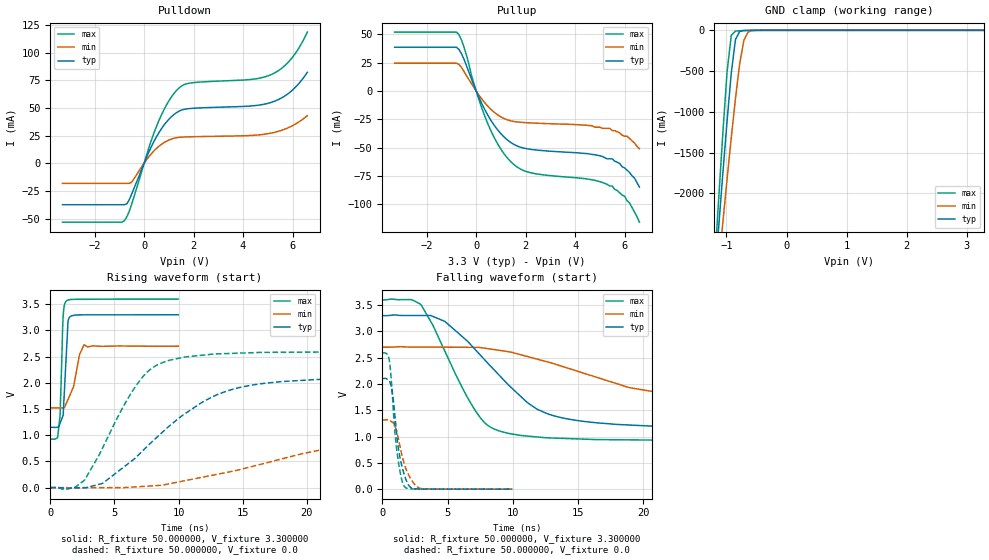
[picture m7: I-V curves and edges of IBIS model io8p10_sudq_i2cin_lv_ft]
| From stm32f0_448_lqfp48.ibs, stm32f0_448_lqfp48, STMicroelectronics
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|   Model io8p10_sudq_i2cin_lv_ft
[Model]  io8p10_sudq_i2cin_lv_ft
Model_type I/O
Polarity   Non-Inverting
Enable   Active-Low
Vinl =   0.990000V
Vinh =   2.310000V
Vmeas =  1.650000V
Cref =   50.000000pF
Rref =   100.000000M
Vref =   0.0V
C_comp   2.070000pF   1.996000pF   2.160200pF
[Temperature Range]   25.000000   0.125000k   -40.000000
[Pullup Reference]   3.300000V   2.700000V   3.600000V
[Pulldown Reference]   0.0V   0.0V   0.0V
[POWER Clamp Reference]   3.300000V   2.700000V   3.600000V
[GND Clamp Reference]   0.0V   0.0V   0.0V
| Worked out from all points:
|   slope of the pulldown table from 0 to 0.495 V, typ, clamps not added: 20.9 ohm
|   slope of the pullup table from 0 to 0.495 V, typ, clamps not added: 22.2 ohm
|   GND clamp passes 1 mA (typ) near -0.64 V on its own axis
|   rising waveform, R_fixture 50.000000, V_fixture 3.300000: 20-80 % time 274ps typ, 706ps min, 192ps max; typ from 1.15 V to 3.3 V
|   rising waveform, R_fixture 50.000000, V_fixture 0.0: 20-80 % time 6.37ns typ, 15ns min, 3.5ns max; typ from 0 V to 2.1 V
|   falling waveform, R_fixture 50.000000, V_fixture 3.300000: 20-80 % time 5.24ns typ, 11.1ns min, 3.25ns max; typ from 3.3 V to 1.15 V
|   falling waveform, R_fixture 50.000000, V_fixture 0.0: 20-80 % time 671ps typ, 884ps min, 550ps max; typ from 2.1 V to 0 V
[Pulldown]
|Voltage   I(typ)   I(min)   I(max)
-3.3V     -37.45mA   -18.2mA    -53.24mA
-800mV    -37.45mA   -18.2mA    -51.9mA
-700mV    -36.7mA    -18.2mA    -48.48mA
-500mV    -27.71mA   -17.01mA   -36.66mA
200mV     10.57mA    6.084mA    14.57mA
500mV     23.91mA    13.38mA    33.24mA
900mV     37.17mA    19.87mA    52.48mA
1.3V      45.55mA    23.01mA    65.5mA
1.8V      49.29mA    23.83mA    72.18mA
5.1V      54.68mA    27.07mA    79.72mA
5.9V      64.2mA     32.82mA    93.01mA
6.6V      82.13mA    42.97mA    118.4mA
[Pullup]
|Voltage   I(typ)   I(min)   I(max)
-3.3V     38.73mA    24.6mA     52.09mA
-800mV    38.73mA    24.6mA     52.09mA
-500mV    28.38mA    17.49mA    39.19mA
0V        90fA       16.1pA     0A
500mV     -22.5mA    -14.16mA   -30.52mA
900mV     -35.28mA   -21.55mA   -48mA
1.4V      -45.54mA   -26.4mA    -62.53mA
2.2V      -51.57mA   -28.22mA   -72.25mA
4.6V      -55.8mA    -30.6mA    -78.19mA
5.5V      -60mA      -35mA      -84mA
6V        -68mA      -40mA      -93mA
6.6V      -85mA      -51mA      -116mA
[GND_clamp]
|Voltage   I(typ)   I(min)   I(max)
-3.3V     -9.366A    -9.678A    -9.859A
-1.2V     -3.091A    -3.431A    -2.911A
-1.13V    -2.415A    -2.888A    -2.072A
-1.06V    -1.751A    -2.352A    -1.259A
-990mV    -1.112A    -1.826A    -509.3mA
-920mV    -522.9mA   -1.315A    -61.61mA
-850mV    -112.5mA   -833.8mA   -10.22mA
-780mV    -13.59mA   -408.1mA   -5.256mA
-710mV    -3.081mA   -122.1mA   -2.635mA
-640mV    -945.2uA   -21.36mA   -905.7uA
-570mV    -199.6uA   -4.142mA   -156.8uA
3.28V     0A         0A         0A
[POWER_clamp]
|Voltage   I(typ)   I(min)   I(max)
-3.28V    0A         0A         0A
0V        0A         0A         0A
[Ramp]
| variable   typ   min   max
dV/dt_r  1.26216/6.35979n   0.77952/15.03917n   1.55472/3.49910n
dV/dt_f  1.28946/5.23392n   0.69870/11.16902n   1.60471/3.24541n
R_load = 50.000000
[Rising Waveform]
R_fixture= 50.000000
V_fixture= 3.300000
V_fixture_min= 2.700000
V_fixture_max= 3.600000
|time   V(typ)   V(min)   V(max)
0s        1.151V     1.522V     925.5mV
580.6ps   1.153V     1.522V     976.8mV
760.8ps   1.228V     1.521V     1.37V
1.001ns   1.379V     1.522V     3.263V
1.221ns   2.412V     1.593V     3.556V
1.401ns   3.201V     1.694V     3.582V
1.822ns   3.289V     1.933V     3.594V
2.282ns   3.297V     2.543V     3.595V
2.643ns   3.298V     2.726V     3.595V
9.97ns    3.3V       2.7V       3.6V
[Rising Waveform]
R_fixture= 50.000000
V_fixture= 0.0
V_fixture_min= 0.0
V_fixture_max= 0.0
|time   V(typ)   V(min)   V(max)
0s        -32.6uV    -22.87uV   -20.68uV
2.603ns   -276.1uV   -5.444mV   128.9mV
4.104ns   86.95mV    -432.6uV   771.8mV
7.107ns   681.1mV    20.9mV     2.087V
8.308ns   961.6mV    39.17mV    2.339V
10.41ns   1.397V     128.5mV    2.491V
13.71ns   1.841V     289.1mV    2.559V
18.12ns   2.026V     553.4mV    2.584V
30.23ns   2.098V     1.113V     2.592V
49.85ns   2.104V     1.316V     2.591V
[Falling Waveform]
R_fixture= 50.000000
V_fixture= 3.300000
V_fixture_min= 2.700000
V_fixture_max= 3.600000
|time   V(typ)   V(min)   V(max)
0s        3.3V       2.7V       3.6V
2.903ns   3.303V     2.701V     3.522V
4.805ns   3.188V     2.701V     2.618V
7.307ns   2.606V     2.697V     1.43V
8.208ns   2.365V     2.668V     1.192V
9.71ns    1.973V     2.613V     1.059V
12.61ns   1.439V     2.424V     976.8mV
16.52ns   1.26V      2.122V     942.9mV
24.32ns   1.179V     1.71V      927.1mV
49.85ns   1.151V     1.522V     925.5mV
[Falling Waveform]
R_fixture= 50.000000
V_fixture= 0.0
V_fixture_min= 0.0
V_fixture_max= 0.0
|time   V(typ)   V(min)   V(max)
0s        2.104V     1.316V     2.591V
520.5ps   2.063V     1.315V     2.47V
760.8ps   1.847V     1.273V     1.818V
940.9ps   1.446V     1.208V     1.148V
1.081ns   1.094V     1.118V     797.7mV
1.421ns   521.5mV    735.2mV    252.7mV
1.722ns   245.1mV    451.2mV    40.86mV
2.142ns   38.17mV    211.3mV    6.468mV
2.883ns   3.131mV    17.1mV     2.592mV
9.97ns    -32.6uV    -22.87uV   -20.68uV
